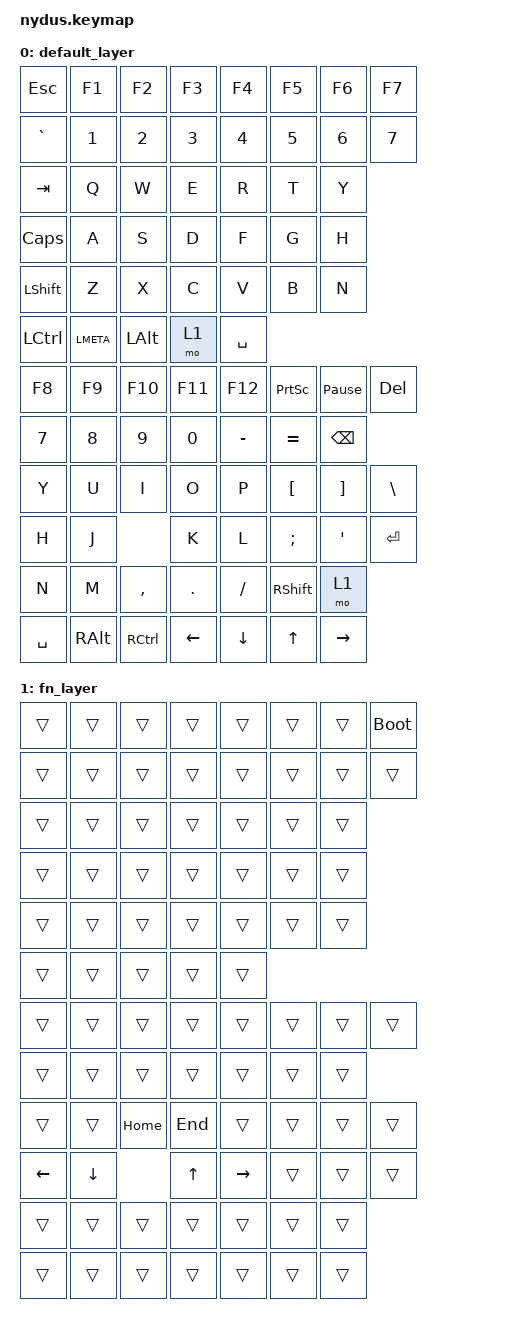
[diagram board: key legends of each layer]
#include <behaviors.dtsi>
#include <dt-bindings/zmk/keys.h>
#include <dt-bindings/zmk/bt.h>

/ {
    keymap {
        compatible = "zmk,keymap";

        default_layer {
            bindings = <
                /* left */
                &kp ESC &kp F1 &kp F2 &kp F3 &kp F4 &kp F5 &kp F6 &kp F7
                &kp GRAVE &kp N1 &kp N2 &kp N3 &kp N4 &kp N5 &kp N6 &kp N7
                &kp TAB &kp Q &kp W &kp E &kp R &kp T &kp Y
                &kp CAPS &kp A &kp S &kp D &kp F &kp G &kp H
                &kp LSHIFT &kp Z &kp X &kp C &kp V &kp B &kp N
                &kp LCTRL &kp LMETA &kp LALT &mo 1 &kp SPACE

                /* right */
                &kp F8 &kp F9 &kp F10 &kp F11 &kp F12 &kp PSCRN &kp PAUSE_BREAK &kp DEL
                &kp N7 &kp N8 &kp N9 &kp N0 &kp MINUS &kp EQUAL &kp BSPC
                &kp Y &kp U &kp I &kp O &kp P &kp LBKT &kp RBKT &kp BSLH
                &kp H &kp J &kp K &kp L &kp SEMI &kp APOS &kp RET
                &kp N &kp M &kp COMMA &kp DOT &kp SLASH &kp RSHIFT &mo 1
                &kp SPACE &kp RALT &kp RCTRL &kp LEFT &kp DOWN &kp UP &kp RIGHT
            >;
        };
        
        fn_layer {
            bindings = <
                &trans &trans &trans &trans &trans &trans &trans &bootloader
                &trans &trans &trans &trans &trans &trans &trans &trans
                &trans &trans &trans &trans &trans &trans &trans
                &trans &trans &trans &trans &trans &trans &trans
                &trans &trans &trans &trans &trans &trans &trans
                &trans &trans &trans &trans &trans

                &trans &trans &trans &trans &trans &trans &trans &trans
                &trans &trans &trans &trans &trans &trans &trans
                &trans &trans &kp HOME &kp END &trans &trans &trans &trans
                &kp LEFT &kp DOWN &kp UP &kp RIGHT &trans &trans &trans
                &trans &trans &trans &trans &trans &trans &trans
                &trans &trans &trans &trans &trans &trans &trans
            >;
        };
    };
};
